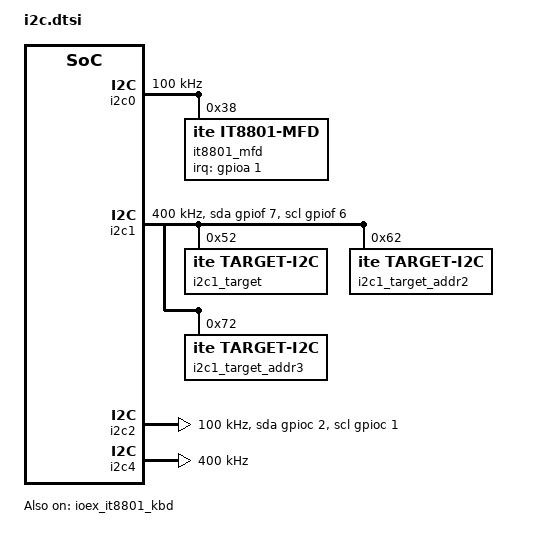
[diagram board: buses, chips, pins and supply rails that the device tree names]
/* Copyright 2025 The ChromiumOS Authors
 * Use of this source code is governed by a BSD-style license that can be
 * found in the LICENSE file.
 */

/ {
	named-i2c-ports {
		compatible = "named-i2c-ports";

		battery {
			i2c-port = <&i2c2>;
			enum-names = "I2C_PORT_BATTERY";
		};
		evb-1 {
			i2c-port = <&i2c0>;
			enum-names = "I2C_PORT_EVB_1";
		};
		evb-2 {
			i2c-port = <&i2c1>;
			enum-names = "I2C_PORT_EVB_2";
		};
		opt-4 {
			i2c-port = <&i2c4>;
			enum-names = "I2C_PORT_OPT_4";
		};
	};
};

/* it8801 test */
&i2c0 {
	status = "okay";
	clock-frequency = <I2C_BITRATE_STANDARD>;
	pinctrl-0 = <&i2c0_clk_gpf2_default
		     &i2c0_data_gpf3_default>;
	pinctrl-names = "default";

	it8801_mfd: it8801@38 {
		compatible = "ite,it8801-mfd";
		reg = <0x38>;
		irq-gpios = <&gpioa 1 0>;
	};
};

#include <ite/it8801-common-cfg.dtsi>
&ioex_it8801_kbd {
	status = "okay";
	mfdctrl = <&kso18_gp01_default>;
	kso-mapping = <0 1 20 3 4 5 6 17 18 16 15 11 12>;
	row-size = <8>;
	col-size = <13>;
};


/* loop back test */
&i2c1 {
	status = "okay";
	clock-frequency = <I2C_BITRATE_FAST>;

	pinctrl-0 = <&i2c2_clk_gpf6_default
		     &i2c2_data_gpf7_default>;
	pinctrl-names = "default";
	scl-gpios = <&gpiof 6 0>;
	sda-gpios = <&gpiof 7 0>;
	channel-switch-sel = <SMB_SWITCH_INTERFACE2>;
	/delete-property/ fifo-enable;   /* FIFO2 */
	target-enable;

	target-shared-fifo-mode;
	i2c1_target: target@52 {
		compatible = "ite,target-i2c";
		reg = <0x52>;
	};

	i2c1_target_addr2: target@62 {
		compatible = "ite,target-i2c";
		reg = <0x62>;
	};

	i2c1_target_addr3: target@72 {
		compatible = "ite,target-i2c";
		reg = <0x72>;
	};
};

&i2c2 {
	status = "okay";
	clock-frequency = <I2C_BITRATE_STANDARD>;

	pinctrl-0 = <&i2c1_clk_gpc1_default
		     &i2c1_data_gpc2_default>;
	pinctrl-names = "default";
	scl-gpios = <&gpioc 1 0>;
	sda-gpios = <&gpioc 2 0>;
	channel-switch-sel = <SMB_SWITCH_INTERFACE1>;

};

&pinctrl {
	/* I2C property setting */
	i2c1_clk_gpc1_default: i2c1_clk_gpc1_default {
		gpio-voltage = "1v8";
	};
	i2c1_data_gpc2_default: i2c1_data_gpc2_default {
		gpio-voltage = "1v8";
	};

};

&i2c4 {
	status = "okay";
	clock-frequency = <I2C_BITRATE_FAST>;
	pinctrl-0 = <&i2c4_clk_gpe0_default
		     &i2c4_data_gpe7_default>;
	pinctrl-names = "default";
	push-pull-recovery;

};
